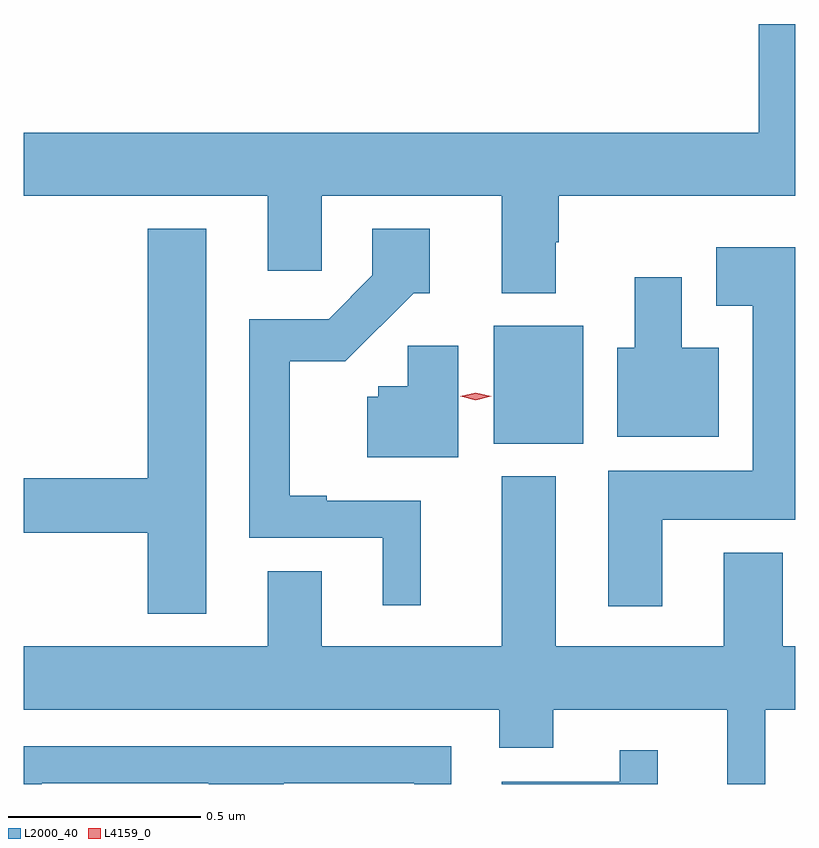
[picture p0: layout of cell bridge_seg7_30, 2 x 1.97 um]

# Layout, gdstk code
import gdstk
lib = gdstk.Library(unit=1e-6, precision=1e-09)
def R(c, l, rs):  # rectangles x0, y0, x1, y1
    for r in rs: c.add(gdstk.rectangle(r[:2], r[2:], *l))
def P(c, l, *ps):  # polygons
    for p in ps: c.add(gdstk.Polygon(p, *l))
L2000_40 = (2000, 40)
L4159_0 = (4159, 0)

bridge_seg7_30 = lib.new_cell('bridge_seg7_30')
R(bridge_seg7_30, L2000_40, [(973.436,1058.582,973.669,1058.887)])
P(bridge_seg7_30, L2000_40, [(973.597,1059.104),(973.605,1059.104),(973.605,1059.224),(974.218,1059.224),(974.218,1059.67),(974.124,1059.67),(974.124,1059.388),(972.218,1059.388),(972.218,1059.224),(972.851,1059.224),(972.851,1059.03),(972.99,1059.03),(972.99,1059.224),(973.457,1059.224),(973.457,1058.972),(973.597,1058.972)],
  [(973.247,1058.433),(973.003,1058.433),(973.003,1058.446),(972.907,1058.446),(972.907,1058.795),(973.051,1058.795),(973.229,1058.972),(973.27,1058.972),(973.27,1059.139),(973.122,1059.139),(973.122,1059.018),(973.008,1058.904),(972.803,1058.904),(972.803,1058.337),(973.148,1058.337),(973.148,1058.163),(973.247,1058.163)],
  [(972.691,1059.139),(972.539,1059.139),(972.539,1058.492),(972.218,1058.492),(972.218,1058.35),(972.539,1058.35),(972.539,1058.141),(972.691,1058.141)],
  [(973.873,1058.384),(974.218,1058.384),(974.218,1059.091),(974.013,1059.091),(974.013,1058.939),(974.108,1058.939),(974.108,1058.512),(973.733,1058.512),(973.733,1058.16),(973.873,1058.16)],
  [(974.02,1058.83),(973.924,1058.83),(973.924,1059.013),(973.802,1059.013),(973.802,1058.83),(973.757,1058.83),(973.757,1058.6),(974.02,1058.6)],
  [(973.345,1058.835),(973.213,1058.835),(973.213,1058.73),(973.137,1058.73),(973.137,1058.703),(973.109,1058.703),(973.109,1058.546),(973.345,1058.546)],
  [(974.141,1057.892),(974.218,1057.892),(974.218,1058.056),(974.186,1058.056),(974.186,1058.299),(974.033,1058.299),(974.033,1058.056),(973.597,1058.056),(973.597,1058.497),(973.457,1058.497),(973.457,1058.056),(972.991,1058.056),(972.991,1058.251),(972.851,1058.251),(972.851,1058.056),(972.218,1058.056),(972.218,1057.892),(973.451,1057.892),(973.451,1057.793),(973.591,1057.793),(973.591,1057.892),(974.042,1057.892),(974.042,1057.699),(974.141,1057.699)],
  [(972.264,1057.701),(972.698,1057.701),(972.698,1057.699),(972.892,1057.699),(972.892,1057.701),(973.23,1057.701),(973.23,1057.699),(973.326,1057.699),(973.326,1057.797),(972.218,1057.797),(972.218,1057.699),(972.264,1057.699)],
  [(973.862,1057.786),(973.763,1057.786),(973.763,1057.705),(973.457,1057.705),(973.457,1057.699),(973.862,1057.699)])
P(bridge_seg7_30, L4159_0, [(973.39,1058.694),(973.349,1058.704),(973.349,1058.704),(973.349,1058.705),(973.39,1058.714),(973.43,1058.705),(973.43,1058.704),(973.43,1058.704)])

lib.write_gds('bridge_seg7_30.gds')
